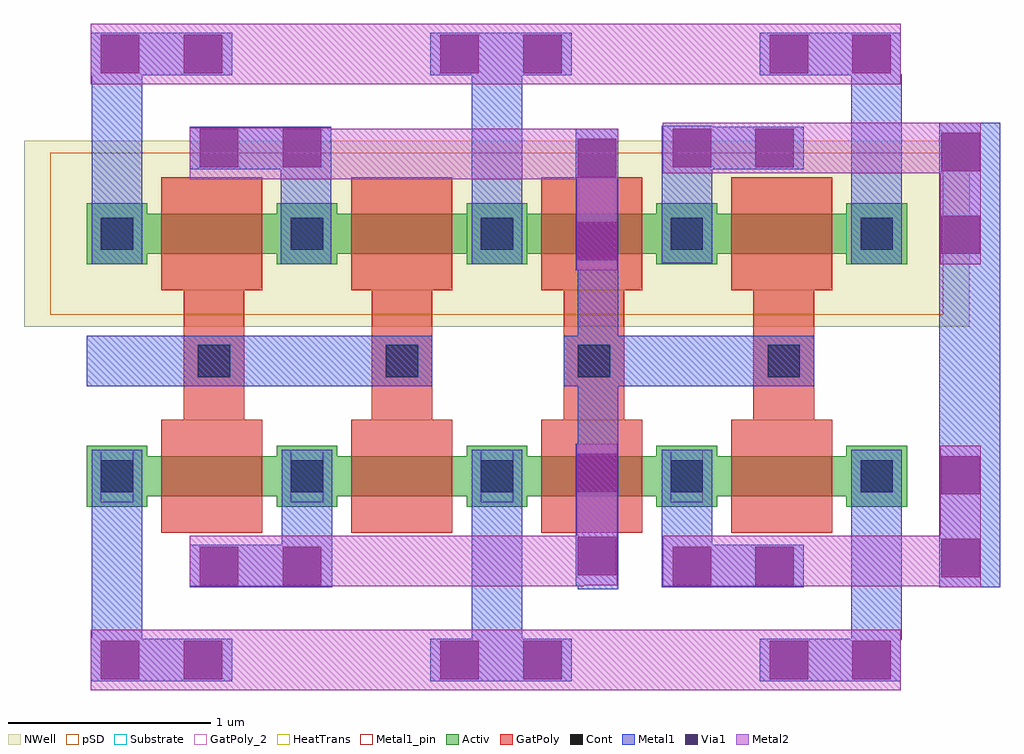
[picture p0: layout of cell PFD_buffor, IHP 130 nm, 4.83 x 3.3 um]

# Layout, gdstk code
import gdstk
lib = gdstk.Library(unit=1e-6, precision=1e-09)
def R(c, l, rs):  # rectangles x0, y0, x1, y1
    for r in rs: c.add(gdstk.rectangle(r[:2], r[2:], *l))
def A(c, l, x, y, w, h, nx, ny, dx, dy):  # array of equal rectangles
    R(c, l, [(x+i*dx, y+j*dy, x+i*dx+w, y+j*dy+h) for i in range(nx) for j in range(ny)])
Activ = (1, 0)
GatPoly = (5, 0)
GatPoly_2 = (5, 2)
Cont = (6, 0)
Metal1 = (8, 0)
Metal1_pin = (8, 2)
Metal2 = (10, 0)
pSD = (14, 0)
Via1 = (19, 0)
NWell = (31, 0)
Substrate = (40, 0)
HeatTrans = (51, 0)

pmos = lib.new_cell('pmos')
A(pmos, Activ, 0, 0, 0.3, 0.3, 3, 1, 0.94, 0)
R(pmos, Activ, [(0,0.05,2.18,0.25)])
R(pmos, GatPoly, [(0.37,-0.13,0.87,0.43), (0.37,-0.13,0.87,0.43), (1.31,-0.13,1.81,0.43)])
A(pmos, Cont, 0.07, 0.07, 0.16, 0.16, 3, 1, 0.94, 0)
R(pmos, Metal1, [(0.07,0.02,0.23,0.28), (0.07,0.02,0.23,0.28), (1.01,0.02,1.17,0.28), (1.01,0.02,1.17,0.28), (1.95,0.02,2.11,0.28)])
R(pmos, pSD, [(-0.18,-0.25,2.36,0.55)])
R(pmos, NWell, [(-0.31,-0.31,2.49,0.61)])
R(pmos, Substrate, [(1.88,0,2.18,0.3)])
R(pmos, HeatTrans, [(0.37,-0.13,0.87,0.43), (1.31,-0.13,1.81,0.43)])
pmos.add(gdstk.Label('pmos', (0.62,0.15), layer=63, texttype=0))
pmos.add(gdstk.Label('pmos', (0.62,0.15), layer=51, texttype=0))
pmos.add(gdstk.Label('pmos', (1.56,0.15), layer=51, texttype=0))

via = lib.new_cell('Via')
R(via, Metal1, [(-0.35,-0.105,0.35,0.105)])
R(via, Metal2, [(-0.35,-0.1,0.35,0.1)])
R(via, Via1, [(-0.3,-0.095,-0.11,0.095), (0.11,-0.095,0.3,0.095)])

nmos = lib.new_cell('nmos')
A(nmos, Activ, 0, 0, 0.3, 0.3, 3, 1, 0.94, 0)
R(nmos, Activ, [(0,0.05,2.18,0.25)])
R(nmos, GatPoly, [(0.37,-0.13,0.87,0.43), (1.31,-0.13,1.81,0.43)])
R(nmos, GatPoly_2, [(0.37,-0.13,0.87,0.43)])
A(nmos, Cont, 0.07, 0.07, 0.16, 0.16, 3, 1, 0.94, 0)
A(nmos, Metal1, 0.07, 0.02, 0.16, 0.26, 3, 1, 0.94, 0)
R(nmos, Metal1_pin, [(0.07,0.02,0.23,0.28), (1.01,0.02,1.17,0.28)])
R(nmos, HeatTrans, [(0.37,-0.13,0.87,0.43), (1.31,-0.13,1.81,0.43)])
nmos.add(gdstk.Label('nmos', (0.62,0.15), layer=63, texttype=0))
nmos.add(gdstk.Label('nmos', (0.62,0.15), layer=51, texttype=0))
nmos.add(gdstk.Label('nmos', (1.56,0.15), layer=51, texttype=0))

via_2 = lib.new_cell('Via$2')
R(via_2, GatPoly, [(-0.15,-0.15,0.15,0.15)])
R(via_2, Cont, [(-0.08,-0.08,0.08,0.08)])
R(via_2, Metal1, [(-0.13,-0.08,0.13,0.08)])

via_4 = lib.new_cell('Via$4')
R(via_4, Metal1, [(-0.105,-0.35,0.105,0.35)])
R(via_4, Metal2, [(-0.1,-0.35,0.1,0.35)])
R(via_4, Via1, [(-0.095,-0.3,0.095,-0.11), (-0.095,0.11,0.095,0.3)])

pfd_buffor = lib.new_cell('PFD_buffor')
R(pfd_buffor, GatPoly, [(-0.23,-0.01,0.07,0.63), (0.7,-0.01,1,0.63), (1.65,-0.01,1.95,0.63), (2.59,-0.01,2.89,0.63)])
R(pfd_buffor, Metal2, [(1.375,-0.835,1.75,-0.585)])
pfd_buffor.add(gdstk.FlexPath([(0.38,-0.16),(0.38,-0.84)], 0.25, ends="flush", simple_path=True, layer=8, datatype=0))  # Metal1
pfd_buffor.add(gdstk.FlexPath([(-0.56,0.76),(-0.56,1.7)], 0.25, ends="flush", simple_path=True, layer=8, datatype=0))  # Metal1
pfd_buffor.add(gdstk.FlexPath([(1.32,0.76),(1.32,1.7)], 0.25, ends="flush", simple_path=True, layer=8, datatype=0))  # Metal1
pfd_buffor.add(gdstk.FlexPath([(3.2,0.76),(3.2,1.7)], 0.25, ends="flush", simple_path=True, layer=8, datatype=0))  # Metal1
pfd_buffor.add(gdstk.FlexPath([(-0.56,-1.1),(-0.56,-0.16)], 0.25, ends="flush", simple_path=True, layer=8, datatype=0))  # Metal1
pfd_buffor.add(gdstk.FlexPath([(1.32,-1.1),(1.32,-0.16)], 0.25, ends="flush", simple_path=True, layer=8, datatype=0))  # Metal1
pfd_buffor.add(gdstk.FlexPath([(3.2,-1.1),(3.2,-0.16)], 0.25, ends="flush", simple_path=True, layer=8, datatype=0))  # Metal1
pfd_buffor.add(gdstk.FlexPath([(0.375,1.44),(0.375,0.76)], 0.25, ends="flush", simple_path=True, layer=8, datatype=0))  # Metal1
pfd_buffor.add(gdstk.FlexPath([(2.26,-0.16),(2.26,-0.84)], 0.25, ends="flush", simple_path=True, layer=8, datatype=0))  # Metal1
pfd_buffor.add(gdstk.FlexPath([(1,0.28),(-0.71,0.28)], 0.25, ends="flush", simple_path=True, layer=8, datatype=0))  # Metal1
pfd_buffor.add(gdstk.FlexPath([(2.26,1.445),(2.26,0.765)], 0.25, ends="flush", simple_path=True, layer=8, datatype=0))  # Metal1
pfd_buffor.add(gdstk.FlexPath([(3.66,1.46),(3.66,-0.84)], 0.3, ends="flush", simple_path=True, layer=8, datatype=0))  # Metal1
pfd_buffor.add(gdstk.FlexPath([(1.65,0.28),(2.89,0.28)], 0.25, ends="flush", simple_path=True, layer=8, datatype=0))  # Metal1
pfd_buffor.add(gdstk.FlexPath([(1.82,1.43),(1.82,-0.85)], 0.2, ends="flush", simple_path=True, layer=8, datatype=0))  # Metal1
pfd_buffor.add(gdstk.FlexPath([(-0.69,1.8),(3.32,1.8)], 0.3, ends="flush", simple_path=True, layer=10, datatype=0))  # Metal2
pfd_buffor.add(gdstk.FlexPath([(-0.69,-1.2),(3.32,-1.2)], 0.3, ends="flush", simple_path=True, layer=10, datatype=0))  # Metal2
pfd_buffor.add(gdstk.FlexPath([(2.14,1.335),(3.715,1.335)], 0.25, ends="flush", simple_path=True, layer=10, datatype=0))  # Metal2
pfd_buffor.add(gdstk.FlexPath([(2.14,-0.71),(3.715,-0.71)], 0.25, ends="flush", simple_path=True, layer=10, datatype=0))  # Metal2
pfd_buffor.add(gdstk.FlexPath([(-0.2,-0.71),(1.375,-0.71)], 0.25, ends="flush", simple_path=True, layer=10, datatype=0))  # Metal2
pfd_buffor.add(gdstk.FlexPath([(-0.2,1.305),(1.92,1.305)], 0.25, ends="flush", simple_path=True, layer=10, datatype=0))  # Metal2
pfd_buffor.add(gdstk.Reference(pmos, (-0.71,0.76)))
pfd_buffor.add(gdstk.Reference(pmos, (1.17,0.76)))
pfd_buffor.add(gdstk.Reference(via, (1.34,-1.2)))
pfd_buffor.add(gdstk.Reference(nmos, (1.17,-0.44)))
pfd_buffor.add(gdstk.Reference(via, (-0.34,1.8)))
pfd_buffor.add(gdstk.Reference(via, (1.34,1.8)))
pfd_buffor.add(gdstk.Reference(via, (2.97,1.8)))
pfd_buffor.add(gdstk.Reference(via, (2.97,-1.2)))
pfd_buffor.add(gdstk.Reference(via, (-0.34,-1.2)))
pfd_buffor.add(gdstk.Reference(via_2, (-0.08,0.28)))
pfd_buffor.add(gdstk.Reference(via_2, (0.85,0.28)))
pfd_buffor.add(gdstk.Reference(via, (0.15,-0.735)))
pfd_buffor.add(gdstk.Reference(via_2, (1.8,0.28)))
pfd_buffor.add(gdstk.Reference(via_2, (2.74,0.28)))
pfd_buffor.add(gdstk.Reference(nmos, (-0.71,-0.44)))
pfd_buffor.add(gdstk.Reference(via, (0.15,1.335)))
pfd_buffor.add(gdstk.Reference(via, (2.49,1.335)))
pfd_buffor.add(gdstk.Reference(via, (2.49,-0.735)))
pfd_buffor.add(gdstk.Reference(via_4, (3.615,1.11)))
pfd_buffor.add(gdstk.Reference(via_4, (3.615,-0.49)))
pfd_buffor.add(gdstk.Reference(via_4, (1.815,-0.48)))
pfd_buffor.add(gdstk.Reference(via_4, (1.815,1.08)))

lib.write_gds('PFD_buffor.gds')
